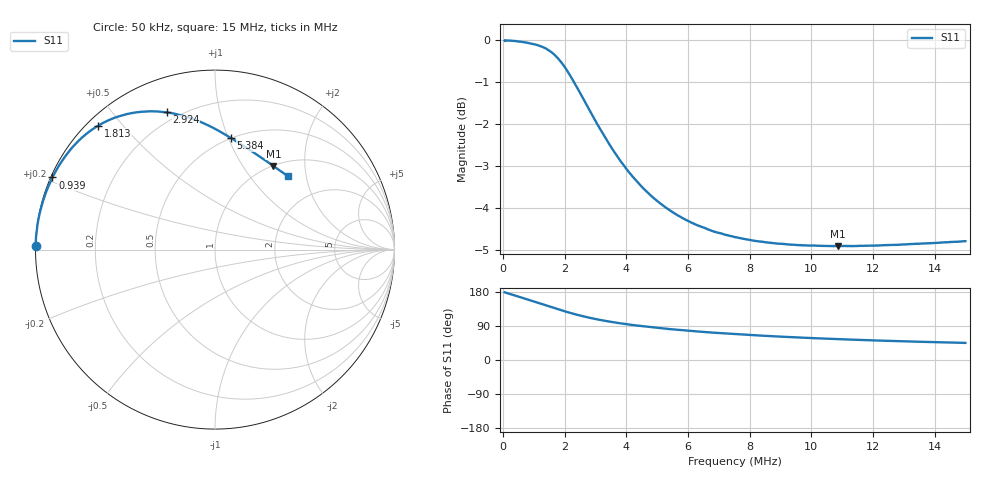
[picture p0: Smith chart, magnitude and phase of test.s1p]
# HZ S RI R 50
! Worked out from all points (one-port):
!   1010 points, 50 kHz to 15 MHz, reference 50 ohm
!   lowest |S11| = -4.9 dB at 10.87 MHz (marker M1), VSWR 3.63, Z = 50.4 + j69.3 ohm
!   |S11| at or under -10 dB: nowhere
!   S11 on the Smith chart (normalised r, x): 50 kHz: 0.00, +0.01; 939 kHz: 0.00, +0.21; 1.813 MHz: 0.03, +0.43; 2.924 MHz: 0.16, +0.70; 5.384 MHz: 0.50, +1.02; 15 MHz: 1.29, +1.57
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50000  -0.9989 0.0225
124000  -0.9979 0.0569
301800  -0.9896 0.134
494500  -0.973 0.2174
716700  -0.9442 0.3115
939000  -0.9057 0.4018
1146400  -0.8604 0.4825
1368700  -0.8009 0.5624
1605717  -0.725 0.6376
1813217  -0.6502 0.691
1931717  -0.6055 0.7149
2139117  -0.5261 0.7455
2376217  -0.4393 0.7645
2628117  -0.3553 0.7706
2924417  -0.2689 0.7648
3339334  -0.17 0.7436
3798634  -0.086 0.7135
4139434  -0.0359 0.6913
4539551  0.0122 0.6664
5384051  0.0903 0.6214
5665551  0.111 0.6081
6687968  0.1741 0.5681
7532585  0.2151 0.5412
9399502  0.2841 0.4945
1.086632e7  0.3252 0.4658
1.126642e7  0.3351 0.4589
1.313334e7  0.3746 0.4312
1.500035e7  0.4063 0.4083
